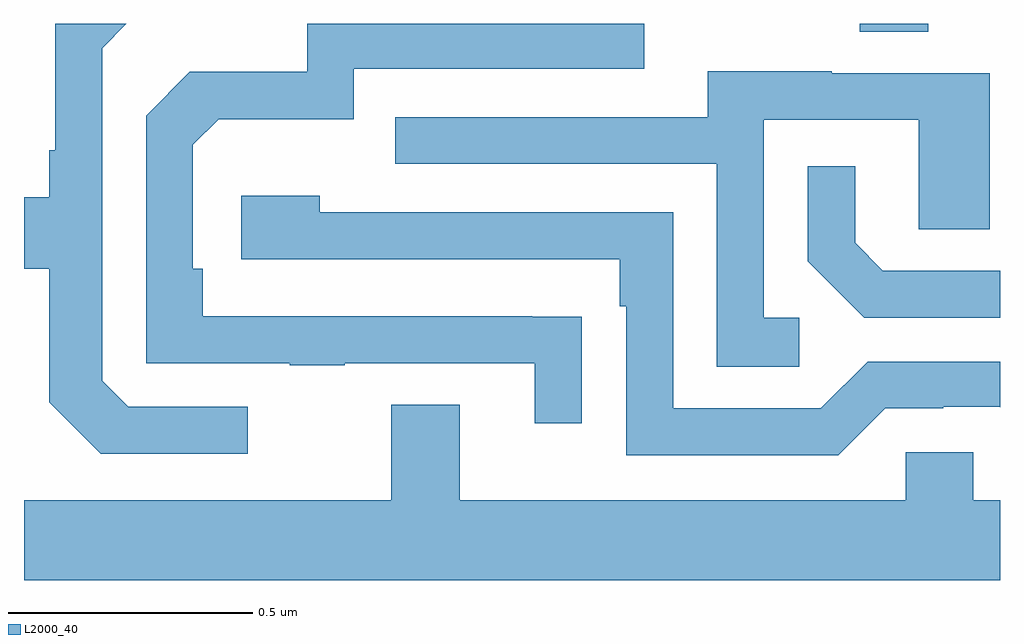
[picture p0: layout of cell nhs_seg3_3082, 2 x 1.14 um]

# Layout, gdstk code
import gdstk
lib = gdstk.Library(unit=1e-6, precision=1e-09)
def R(c, l, rs):  # rectangles x0, y0, x1, y1
    for r in rs: c.add(gdstk.rectangle(r[:2], r[2:], *l))
def P(c, l, *ps):  # polygons
    for p in ps: c.add(gdstk.Polygon(p, *l))
L2000_40 = (2000, 40)

nhs_seg3_3082 = lib.new_cell('nhs_seg3_3082')
R(nhs_seg3_3082, L2000_40, [(150.713,691.384,150.853,691.4)])
P(nhs_seg3_3082, L2000_40, [(150.143,690.8),(150.041,690.8),(150.041,690.801),(149.366,690.801),(149.366,690.898),(149.346,690.898),(149.346,691.152),(149.399,691.205),(149.676,691.205),(149.676,691.308),(150.271,691.308),(150.271,691.4),(149.58,691.4),(149.58,691.302),(149.34,691.302),(149.25,691.212),(149.25,690.705),(149.545,690.705),(149.545,690.7),(149.657,690.7),(149.657,690.705),(150.047,690.705),(150.047,690.582),(150.143,690.582)],
  [(149.458,690.615),(149.214,690.615),(149.16,690.669),(149.16,691.35),(149.21,691.4),(149.064,691.4),(149.064,691.141),(149.052,691.141),(149.052,691.045),(149,691.045),(149,690.898),(149.052,690.898),(149.052,690.625),(149.157,690.519),(149.458,690.519)],
  [(150.589,690.798),(150.516,690.798),(150.516,691.203),(150.834,691.203),(150.834,690.979),(150.979,690.979),(150.979,691.299),(150.655,691.299),(150.655,691.303),(150.401,691.303),(150.401,691.209),(149.761,691.209),(149.761,691.113),(150.42,691.113),(150.42,690.697),(150.589,690.697)],
  [(151,690.894),(150.76,690.894),(150.703,690.951),(150.703,691.108),(150.606,691.108),(150.606,690.914),(150.722,690.798),(151,690.798)],
  [(150.765,690.612),(150.884,690.612),(150.884,690.615),(150.999,690.615),(151,690.614),(151,690.708),(150.729,690.708),(150.633,690.612),(150.33,690.612),(150.33,691.014),(149.606,691.014),(149.606,691.048),(149.445,691.048),(149.445,690.918),(150.221,690.918),(150.221,690.821),(150.234,690.821),(150.234,690.516),(150.669,690.516)],
  [(151,690.424),(150.945,690.424),(150.945,690.522),(150.807,690.522),(150.807,690.424),(149.893,690.424),(149.893,690.619),(149.753,690.619),(149.753,690.424),(149,690.424),(149,690.26),(151,690.26)])

lib.write_gds('nhs_seg3_3082.gds')
